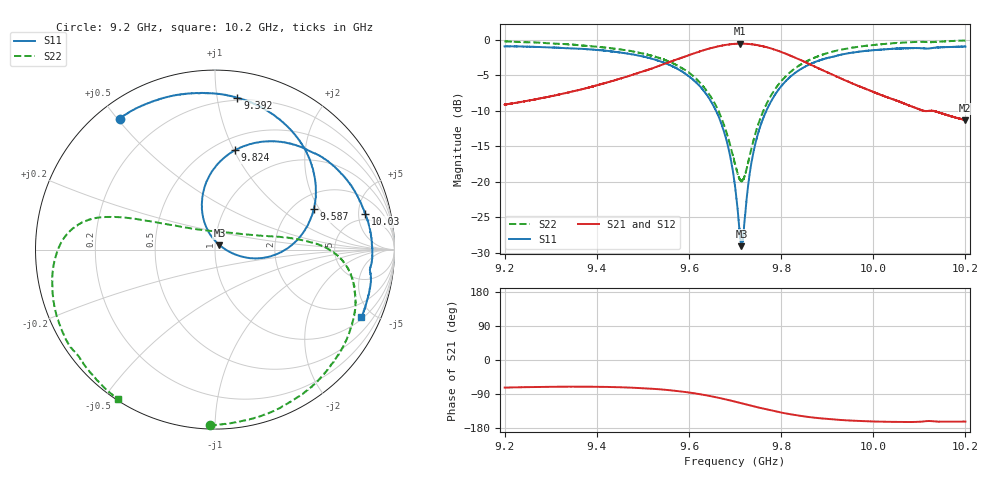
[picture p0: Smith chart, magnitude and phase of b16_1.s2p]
!Agilent Technologies,N5242A,MY51221714,A.09.90.19
!Agilent N5242A: A.09.90.19
!Date: Saturday, March 16, 2024 09:33:35
!Correction: S11(Full 2 Port(1,2))
!S21(Full 2 Port(1,2))
!S12(Full 2 Port(1,2))
!S22(Full 2 Port(1,2))
!S2P File: Measurements: S11, S21, S12, S22:
# Hz S  dB  R 50
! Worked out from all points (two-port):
!   16001 points, 9.2 GHz to 10.2 GHz, reference 50 ohm
!   highest |S21| = -0.51 dB at 9.71 GHz (marker M1); lowest = -11.3 dB at 10.2 GHz (marker M2)
!   |S21| within 3 dB of the highest: 9.540545 GHz to 9.540736 GHz (190.2 kHz wide, 0.00199 % of centre); 9.541 GHz to 9.865 GHz (324.3 MHz wide, 3.34 % of centre)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
!   lowest |S11| = -29.1 dB at 9.714 GHz (marker M3), VSWR 1.07, Z = 52.5 + j2.63 ohm
!   |S11| at or under -10 dB: 9.658886 GHz to 9.658987 GHz (101.3 kHz wide, 0.00105 % of centre); 9.659 GHz to 9.768 GHz (108.8 MHz wide, 1.12 % of centre)
!   |S22| runs from -19.9 to -0.1 dB; largest |S21 - S12| = 0.012
!   S11 on the Smith chart (normalised r, x): 9.2 GHz: 0.06, +0.51; 9.392 GHz: 0.18, +1.14; 9.587 GHz: 2.56, +1.78; 9.824 GHz: 0.62, +1.01; 10.03 GHz: 3.90, +6.01; 10.2 GHz: 1.11, -4.30
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9.2e9  -0.89 126.0  -9.11 -72.8  -9.10 -73.4  -0.18 -91.6
9.27775e9  -0.99 108.7  -8.22 -71.1  -8.20 -71.6  -0.39 -70.1
9.366688e9  -1.25 87.9  -6.96 -70.4  -6.93 -71.0  -0.75 -46.3
9.391625e9  -1.35 81.6  -6.53 -70.5  -6.53 -71.1  -0.91 -39.9
9.533375e9  -2.91 41.1  -3.69 -77.0  -3.68 -77.5  -2.49 -8.3
9.587e9  -4.52 22.2  -2.44 -83.7  -2.42 -84.3  -4.05 0.4
9.66025e9  -10.17 -7.0  -0.95 -98.7  -0.93 -99.3  -9.46 12.6
9.683625e9  -14.68 -14.2  -0.65 -105.1  -0.63 -105.6  -13.47 22.9
9.7e9  -20.55 -11.1  -0.54 -109.9  -0.52 -110.5  -17.47 43.5
9.71025e9  -27.12 15.6  -0.51 -113.0  -0.48 -113.6  -19.61 70.7
9.714e9  -29.05 45.1  -0.52 -114.2  -0.50 -114.7  -19.91 83.5
9.73475e9  -17.66 111.2  -0.60 -120.5  -0.58 -121.1  -15.53 136.1
9.752125e9  -12.69 108.1  -0.77 -125.7  -0.76 -126.3  -11.57 149.2
9.7835e9  -8.05 95.8  -1.30 -134.4  -1.29 -135.1  -7.25 157.7
9.823875e9  -4.97 78.6  -2.30 -143.9  -2.30 -144.5  -4.32 162.6
9.866688e9  -3.30 61.9  -3.56 -151.4  -3.54 -152.0  -2.66 167.5
9.950438e9  -1.82 34.4  -6.00 -159.8  -6.00 -160.4  -1.12 -179.4
1.002856e10  -1.30 13.4  -8.02 -162.9  -8.02 -163.5  -0.52 -163.6
1.003338e10  -1.28 12.2  -8.14 -163.1  -8.13 -163.7  -0.50 -162.5
1.01055e10  -1.16 -5.1  -9.90 -162.6  -9.89 -163.1  -0.25 -146.5
1.019981e10  -0.94 -24.6  -11.30 -162.5  -11.29 -163.2  -0.07 -123.1
1.02e10  -0.93 -24.7  -11.30 -162.5  -11.28 -163.1  -0.07 -123.1
